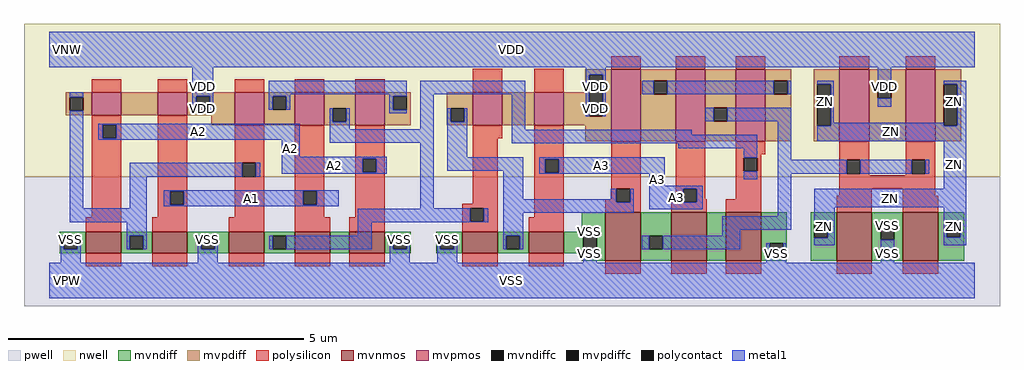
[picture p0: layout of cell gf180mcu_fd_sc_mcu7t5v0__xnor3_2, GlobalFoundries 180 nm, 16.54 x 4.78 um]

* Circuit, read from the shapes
.subckt gf180mcu_fd_sc_mcu7t5v0__xnor3_2 A1 A2 A3 ZN VDD VNW VPW VSS
XM1 n1 A2 VSS VPW nfet_06v0 w=0.36u l=0.6u
XM2 VSS A1 n1 VPW nfet_06v0 w=0.36u l=0.6u
XM3 n2 n1 VSS VPW nfet_06v0 w=0.36u l=0.6u
XM4 n3 A1 n2 VPW nfet_06v0 w=0.36u l=0.6u
XM5 VSS A2 n3 VPW nfet_06v0 w=0.36u l=0.6u
XM6 n4 n2 VSS VPW nfet_06v0 w=0.36u l=0.6u
XM7 VSS A3 n4 VPW nfet_06v0 w=0.36u l=0.6u
XM8 n5 n4 VSS VPW nfet_06v0 w=0.82u l=0.6u
XM9 n6 A3 n5 VPW nfet_06v0 w=0.82u l=0.6u
XM10 VSS n2 n6 VPW nfet_06v0 w=0.82u l=0.6u
XM11 VSS n5 ZN VPW nfet_06v0 w=0.82u l=0.6u m=2
XM12 n7 A2 n1 VNW pfet_06v0 w=0.385u l=0.5u
XM13 VDD A1 n7 VNW pfet_06v0 w=0.385u l=0.5u
XM14 n8 n1 VDD VNW pfet_06v0 w=0.56u l=0.5u
XM15 n2 A1 n8 VNW pfet_06v0 w=0.56u l=0.5u
XM16 n8 A2 n2 VNW pfet_06v0 w=0.56u l=0.5u
XM17 n9 n2 n4 VNW pfet_06v0 w=0.56u l=0.5u
XM18 VDD A3 n9 VNW pfet_06v0 w=0.56u l=0.5u
XM19 n10 n4 VDD VNW pfet_06v0 w=1.22u l=0.5u
XM20 n5 A3 n10 VNW pfet_06v0 w=1.22u l=0.5u
XM21 n10 n2 n5 VNW pfet_06v0 w=1.22u l=0.5u
XM22 VDD n5 ZN VNW pfet_06v0 w=1.22u l=0.5u m=2
.ends

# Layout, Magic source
magic
tech gf180mcuD
magscale 1 10
<< nwell >>
rect -86 352 3222 870
<< pwell >>
rect -86 -86 3222 352
<< mvnmos >>
rect 124 93 244 165
rect 348 93 468 165
rect 608 93 728 165
rect 832 93 952 165
rect 1016 93 1136 165
rect 1400 93 1520 165
rect 1624 93 1744 165
rect 1884 68 2004 232
rect 2108 68 2228 232
rect 2292 68 2412 232
rect 2668 68 2788 232
rect 2892 68 3012 232
<< mvpmos >>
rect 144 561 244 638
rect 368 561 468 638
rect 628 526 728 638
rect 832 526 932 638
rect 1036 526 1136 638
rect 1435 526 1535 638
rect 1644 526 1744 638
rect 1904 472 2004 716
rect 2123 472 2223 716
rect 2327 472 2427 716
rect 2678 472 2778 716
rect 2902 472 3002 716
<< mvndiff >>
rect 1804 165 1884 232
rect 36 152 124 165
rect 36 106 49 152
rect 95 106 124 152
rect 36 93 124 106
rect 244 152 348 165
rect 244 106 273 152
rect 319 106 348 152
rect 244 93 348 106
rect 468 152 608 165
rect 468 106 514 152
rect 560 106 608 152
rect 468 93 608 106
rect 728 152 832 165
rect 728 106 757 152
rect 803 106 832 152
rect 728 93 832 106
rect 952 93 1016 165
rect 1136 152 1224 165
rect 1136 106 1165 152
rect 1211 106 1224 152
rect 1136 93 1224 106
rect 1312 152 1400 165
rect 1312 106 1325 152
rect 1371 106 1400 152
rect 1312 93 1400 106
rect 1520 152 1624 165
rect 1520 106 1549 152
rect 1595 106 1624 152
rect 1520 93 1624 106
rect 1744 152 1884 165
rect 1744 106 1809 152
rect 1855 106 1884 152
rect 1744 93 1884 106
rect 1804 68 1884 93
rect 2004 152 2108 232
rect 2004 106 2033 152
rect 2079 106 2108 152
rect 2004 68 2108 106
rect 2228 68 2292 232
rect 2412 127 2500 232
rect 2412 81 2441 127
rect 2487 81 2500 127
rect 2412 68 2500 81
rect 2580 192 2668 232
rect 2580 146 2593 192
rect 2639 146 2668 192
rect 2580 68 2668 146
rect 2788 184 2892 232
rect 2788 138 2817 184
rect 2863 138 2892 184
rect 2788 68 2892 138
rect 3012 193 3100 232
rect 3012 147 3041 193
rect 3087 147 3100 193
rect 3012 68 3100 147
<< mvpdiff >>
rect 1816 698 1904 716
rect 1816 638 1829 698
rect 56 622 144 638
rect 56 576 69 622
rect 115 576 144 622
rect 56 561 144 576
rect 244 561 368 638
rect 468 625 628 638
rect 468 579 497 625
rect 543 579 628 625
rect 468 561 628 579
rect 548 526 628 561
rect 728 625 832 638
rect 728 579 757 625
rect 803 579 832 625
rect 728 526 832 579
rect 932 585 1036 638
rect 932 539 961 585
rect 1007 539 1036 585
rect 932 526 1036 539
rect 1136 625 1224 638
rect 1136 579 1165 625
rect 1211 579 1224 625
rect 1136 526 1224 579
rect 1347 585 1435 638
rect 1347 539 1360 585
rect 1406 539 1435 585
rect 1347 526 1435 539
rect 1535 526 1644 638
rect 1744 558 1829 638
rect 1875 558 1904 698
rect 1744 526 1904 558
rect 1816 472 1904 526
rect 2004 678 2123 716
rect 2004 632 2048 678
rect 2094 632 2123 678
rect 2004 472 2123 632
rect 2223 586 2327 716
rect 2223 540 2252 586
rect 2298 540 2327 586
rect 2223 472 2327 540
rect 2427 678 2515 716
rect 2427 632 2456 678
rect 2502 632 2515 678
rect 2427 472 2515 632
rect 2590 665 2678 716
rect 2590 525 2603 665
rect 2649 525 2678 665
rect 2590 472 2678 525
rect 2778 665 2902 716
rect 2778 619 2807 665
rect 2853 619 2902 665
rect 2778 472 2902 619
rect 3002 665 3090 716
rect 3002 525 3031 665
rect 3077 525 3090 665
rect 3002 472 3090 525
<< mvndiffc >>
rect 49 106 95 152
rect 273 106 319 152
rect 514 106 560 152
rect 757 106 803 152
rect 1165 106 1211 152
rect 1325 106 1371 152
rect 1549 106 1595 152
rect 1809 106 1855 152
rect 2033 106 2079 152
rect 2441 81 2487 127
rect 2593 146 2639 192
rect 2817 138 2863 184
rect 3041 147 3087 193
<< mvpdiffc >>
rect 69 576 115 622
rect 497 579 543 625
rect 757 579 803 625
rect 961 539 1007 585
rect 1165 579 1211 625
rect 1360 539 1406 585
rect 1829 558 1875 698
rect 2048 632 2094 678
rect 2252 540 2298 586
rect 2456 632 2502 678
rect 2603 525 2649 665
rect 2807 619 2853 665
rect 3031 525 3077 665
<< polysilicon >>
rect 144 638 244 682
rect 368 638 468 682
rect 628 638 728 682
rect 832 638 932 682
rect 1036 638 1136 682
rect 1435 638 1535 719
rect 1644 638 1744 719
rect 1904 716 2004 760
rect 2123 716 2223 760
rect 2327 716 2427 760
rect 2678 716 2778 760
rect 2902 716 3002 760
rect 144 528 244 561
rect 144 482 181 528
rect 227 482 244 528
rect 144 215 244 482
rect 368 303 468 561
rect 368 257 409 303
rect 455 257 468 303
rect 368 215 468 257
rect 628 399 728 526
rect 628 353 653 399
rect 699 353 728 399
rect 628 215 728 353
rect 124 165 244 215
rect 348 165 468 215
rect 608 165 728 215
rect 832 304 932 526
rect 832 258 861 304
rect 907 258 932 304
rect 832 215 932 258
rect 1036 413 1136 526
rect 1036 367 1062 413
rect 1108 367 1136 413
rect 1036 215 1136 367
rect 1435 482 1535 526
rect 1435 260 1520 482
rect 832 165 952 215
rect 1016 165 1136 215
rect 1400 245 1520 260
rect 1400 199 1426 245
rect 1472 199 1520 245
rect 1644 411 1744 526
rect 1644 365 1680 411
rect 1726 365 1744 411
rect 1644 215 1744 365
rect 1904 311 2004 472
rect 1904 276 1922 311
rect 1884 265 1922 276
rect 1968 265 2004 311
rect 2123 311 2223 472
rect 2123 276 2148 311
rect 1884 232 2004 265
rect 2108 265 2148 276
rect 2194 276 2223 311
rect 2327 428 2427 472
rect 2327 416 2412 428
rect 2327 370 2353 416
rect 2399 370 2412 416
rect 2327 276 2412 370
rect 2678 409 2778 472
rect 2678 363 2703 409
rect 2749 363 2778 409
rect 2678 357 2778 363
rect 2902 409 3002 472
rect 2902 363 2923 409
rect 2969 363 3002 409
rect 2902 357 3002 363
rect 2678 311 3002 357
rect 2678 288 2788 311
rect 2194 265 2228 276
rect 2108 232 2228 265
rect 2292 232 2412 276
rect 2668 232 2788 288
rect 2892 288 3002 311
rect 2892 232 3012 288
rect 1400 165 1520 199
rect 1624 165 1744 215
rect 124 49 244 93
rect 348 49 468 93
rect 608 49 728 93
rect 832 49 952 93
rect 1016 49 1136 93
rect 1400 49 1520 93
rect 1624 49 1744 93
rect 1884 24 2004 68
rect 2108 24 2228 68
rect 2292 24 2412 68
rect 2668 24 2788 68
rect 2892 24 3012 68
<< polycontact >>
rect 181 482 227 528
rect 409 257 455 303
rect 653 353 699 399
rect 861 258 907 304
rect 1062 367 1108 413
rect 1426 199 1472 245
rect 1680 365 1726 411
rect 1922 265 1968 311
rect 2148 265 2194 311
rect 2353 370 2399 416
rect 2703 363 2749 409
rect 2923 363 2969 409
<< metal1 >>
rect 0 724 3136 844
rect 69 622 115 638
rect 484 625 556 724
rect 1818 698 1886 724
rect 484 579 497 625
rect 543 579 556 625
rect 744 631 1211 678
rect 744 625 816 631
rect 744 579 757 625
rect 803 579 816 625
rect 1152 625 1211 631
rect 69 245 115 576
rect 950 539 961 585
rect 1007 539 1018 585
rect 1152 579 1165 625
rect 1152 568 1211 579
rect 1257 631 1613 678
rect 165 528 848 531
rect 165 482 181 528
rect 227 482 848 528
rect 165 477 848 482
rect 787 420 848 477
rect 950 513 1018 539
rect 1257 513 1303 631
rect 950 467 1303 513
rect 787 413 1143 420
rect 273 353 653 399
rect 699 353 714 399
rect 787 367 1062 413
rect 1108 367 1143 413
rect 787 363 1143 367
rect 273 245 330 353
rect 387 304 981 307
rect 387 303 861 304
rect 387 257 409 303
rect 455 258 861 303
rect 907 258 981 304
rect 455 257 981 258
rect 387 253 981 257
rect 69 198 330 245
rect 1257 245 1303 467
rect 1349 539 1360 585
rect 1406 539 1417 585
rect 1349 419 1417 539
rect 1567 511 1613 631
rect 1818 558 1829 698
rect 1875 558 1886 698
rect 2009 632 2048 678
rect 2094 632 2456 678
rect 2502 632 2515 678
rect 2603 665 2659 678
rect 1818 557 1886 558
rect 2223 540 2252 586
rect 2298 540 2515 586
rect 1567 494 2177 511
rect 1567 465 2399 494
rect 2131 448 2399 465
rect 1349 372 1606 419
rect 1538 276 1606 372
rect 1660 411 2085 419
rect 1660 365 1680 411
rect 1726 365 2085 411
rect 1660 363 2085 365
rect 2034 322 2085 363
rect 2353 416 2399 448
rect 2353 343 2399 370
rect 2469 409 2515 540
rect 2649 536 2659 665
rect 2807 665 2853 724
rect 2807 590 2853 619
rect 3031 665 3107 678
rect 2649 525 3031 536
rect 3077 525 3107 665
rect 2603 472 3107 525
rect 2469 363 2703 409
rect 2749 363 2923 409
rect 2969 363 2983 409
rect 2034 311 2215 322
rect 1903 276 1922 311
rect 1538 265 1922 276
rect 1968 265 1981 311
rect 1257 244 1426 245
rect 262 152 330 198
rect 1046 199 1426 244
rect 1472 199 1487 245
rect 1046 198 1487 199
rect 1538 230 1981 265
rect 2034 265 2148 311
rect 2194 265 2215 311
rect 2034 242 2215 265
rect 1046 152 1092 198
rect 1538 152 1606 230
rect 2469 219 2515 363
rect 3031 312 3107 472
rect 38 106 49 152
rect 95 106 106 152
rect 262 106 273 152
rect 319 106 330 152
rect 503 106 514 152
rect 560 106 571 152
rect 746 106 757 152
rect 803 106 1092 152
rect 1154 106 1165 152
rect 1211 106 1222 152
rect 38 60 106 106
rect 503 60 571 106
rect 1154 60 1222 106
rect 1314 106 1325 152
rect 1371 106 1382 152
rect 1538 106 1549 152
rect 1595 106 1606 152
rect 1809 152 1855 178
rect 2281 173 2515 219
rect 2593 248 3107 312
rect 2593 192 2662 248
rect 2281 153 2342 173
rect 2007 152 2342 153
rect 2007 106 2033 152
rect 2079 106 2342 152
rect 2639 146 2662 192
rect 1314 60 1382 106
rect 1809 60 1855 106
rect 2430 81 2441 127
rect 2487 81 2498 127
rect 2593 120 2662 146
rect 2817 184 2863 195
rect 2430 60 2498 81
rect 2817 60 2863 138
rect 3031 193 3107 248
rect 3031 147 3041 193
rect 3087 147 3107 193
rect 3031 120 3107 147
rect 0 -60 3136 60
<< labels >>
flabel metal1 s 1660 363 2085 419 0 FreeSans 400 0 0 0 A3
port 3 nsew default input
flabel metal1 s 0 724 3136 844 0 FreeSans 400 0 0 0 VDD
port 5 nsew power bidirectional abutment
flabel metal1 s 2817 178 2863 195 0 FreeSans 400 0 0 0 VSS
port 8 nsew ground bidirectional abutment
flabel metal1 s 3031 536 3107 678 0 FreeSans 400 0 0 0 ZN
port 4 nsew default output
flabel metal1 s 387 253 981 307 0 FreeSans 400 0 0 0 A1
port 1 nsew default input
flabel metal1 s 165 477 848 531 0 FreeSans 400 0 0 0 A2
port 2 nsew default input
flabel nwell s 10 734 110 834 0 FreeSans 400 0 0 0 VNW
port 6 nsew power bidirectional
flabel pwell s 10 -50 110 50 0 FreeSans 400 0 0 0 VPW
port 7 nsew ground bidirectional
rlabel metal1 s 787 420 848 477 1 A2
port 2 nsew default input
rlabel metal1 s 787 363 1143 420 1 A2
port 2 nsew default input
rlabel metal1 s 2034 322 2085 363 1 A3
port 3 nsew default input
rlabel metal1 s 2034 242 2215 322 1 A3
port 3 nsew default input
rlabel metal1 s 2603 536 2659 678 1 ZN
port 4 nsew default output
rlabel metal1 s 2603 472 3107 536 1 ZN
port 4 nsew default output
rlabel metal1 s 3031 312 3107 472 1 ZN
port 4 nsew default output
rlabel metal1 s 2593 248 3107 312 1 ZN
port 4 nsew default output
rlabel metal1 s 3031 120 3107 248 1 ZN
port 4 nsew default output
rlabel metal1 s 2593 120 2662 248 1 ZN
port 4 nsew default output
rlabel metal1 s 2807 590 2853 724 1 VDD
port 5 nsew power bidirectional abutment
rlabel metal1 s 1818 590 1886 724 1 VDD
port 5 nsew power bidirectional abutment
rlabel metal1 s 484 590 556 724 1 VDD
port 5 nsew power bidirectional abutment
rlabel metal1 s 1818 579 1886 590 1 VDD
port 5 nsew power bidirectional abutment
rlabel metal1 s 484 579 556 590 1 VDD
port 5 nsew power bidirectional abutment
rlabel metal1 s 1818 557 1886 579 1 VDD
port 5 nsew power bidirectional abutment
rlabel metal1 s 2817 152 2863 178 1 VSS
port 8 nsew ground bidirectional abutment
rlabel metal1 s 1809 152 1855 178 1 VSS
port 8 nsew ground bidirectional abutment
rlabel metal1 s 2817 127 2863 152 1 VSS
port 8 nsew ground bidirectional abutment
rlabel metal1 s 1809 127 1855 152 1 VSS
port 8 nsew ground bidirectional abutment
rlabel metal1 s 1314 127 1382 152 1 VSS
port 8 nsew ground bidirectional abutment
rlabel metal1 s 1154 127 1222 152 1 VSS
port 8 nsew ground bidirectional abutment
rlabel metal1 s 503 127 571 152 1 VSS
port 8 nsew ground bidirectional abutment
rlabel metal1 s 38 127 106 152 1 VSS
port 8 nsew ground bidirectional abutment
rlabel metal1 s 2817 60 2863 127 1 VSS
port 8 nsew ground bidirectional abutment
rlabel metal1 s 2430 60 2498 127 1 VSS
port 8 nsew ground bidirectional abutment
rlabel metal1 s 1809 60 1855 127 1 VSS
port 8 nsew ground bidirectional abutment
rlabel metal1 s 1314 60 1382 127 1 VSS
port 8 nsew ground bidirectional abutment
rlabel metal1 s 1154 60 1222 127 1 VSS
port 8 nsew ground bidirectional abutment
rlabel metal1 s 503 60 571 127 1 VSS
port 8 nsew ground bidirectional abutment
rlabel metal1 s 38 60 106 127 1 VSS
port 8 nsew ground bidirectional abutment
rlabel metal1 s 0 -60 3136 60 1 VSS
port 8 nsew ground bidirectional abutment
<< properties >>
string FIXED_BBOX 0 0 3136 784
string GDS_END 348236
string GDS_FILE $PDKPATH/libs.ref/gf180mcu_fd_sc_mcu7t5v0/gds/gf180mcu_fd_sc_mcu7t5v0.gds
string GDS_START 341132
string LEFclass core
string LEFsite GF018hv5v_mcu_sc7
string LEFsymmetry X Y
<< end >>
